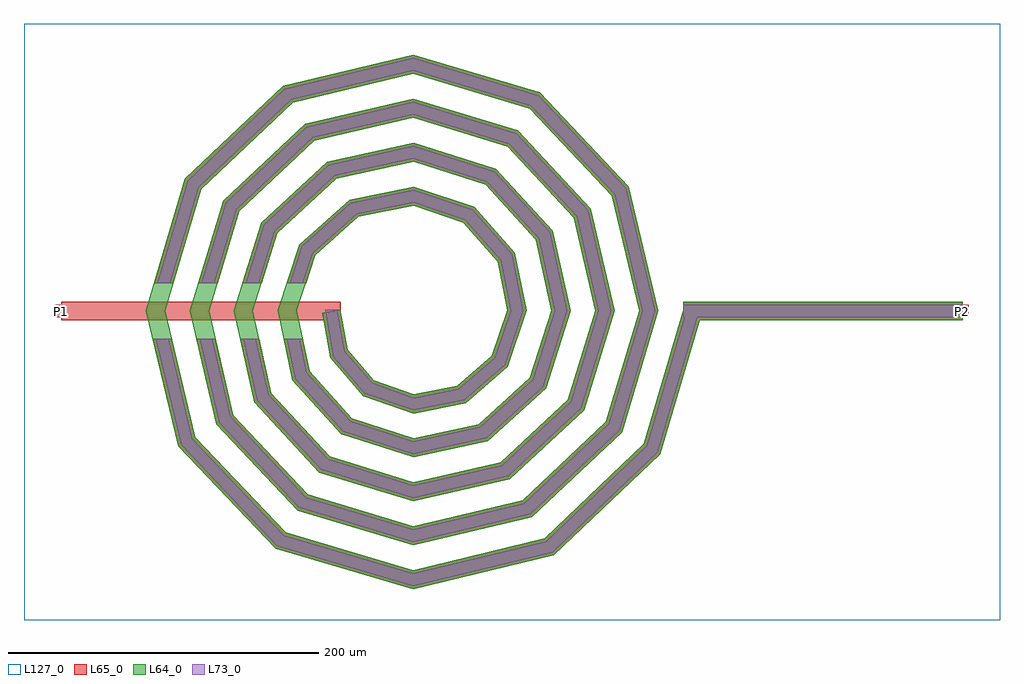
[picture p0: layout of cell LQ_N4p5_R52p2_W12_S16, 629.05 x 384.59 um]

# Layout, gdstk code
import gdstk
lib = gdstk.Library(unit=1e-6, precision=1e-09)
def R(c, l, rs):  # rectangles x0, y0, x1, y1
    for r in rs: c.add(gdstk.rectangle(r[:2], r[2:], *l))
def P(c, l, *ps):  # polygons
    for p in ps: c.add(gdstk.Polygon(p, *l))
L64_0 = (64, 0)
L65_0 = (65, 0)
L73_0 = (73, 0)
L127_0 = (127, 0)

lq_n4p5_r52p2_w12_s16 = lib.new_cell('LQ_N4p5_R52p2_W12_S16')
R(lq_n4p5_r52p2_w12_s16, L64_0, [(174.247,-6,354.247,6)])
P(lq_n4p5_r52p2_w12_s16, L64_0, [(-42.158,-24.911),(-25.251,-44.685),(0.456,-53.683),(28.401,-48.314),(50.788,-28.834),(60.76,0.408),(54.466,31.901),(32.41,56.897),(0.369,67.839),(-35.409,60.615),(-63.01,35.978),(-74.918,0.337),(-66.76,-38.922),(-39.543,-69.127),(0.31,-81.997),(42.44,-72.904),(75.246,-43.103),(89.076,0.287),(79.046,45.961),(46.661,81.366),(0.267,96.156),(-49.484,85.187),(-87.489,50.217),(-103.236,0.25),(-91.326,-53.01),(-53.77,-93.612),(0.235,-110.316),(56.537,-97.465),(99.736,-57.323),(117.396,0.221),(103.603,60.066),(60.873,105.862),(0.209,124.476),(-63.596,109.74),(-111.988,64.423),(-131.556,0.199),(-115.877,-67.127),(-67.972,-118.114),(0.189,-138.636),(70.659,-122.013),(124.241,-71.52),(145.716,0.18),(128.149,74.192),(75.067,130.369),(0.172,152.796),(-77.725,134.285),(-136.497,78.614),(-159.877,0.165),(-140.42,-81.259),(-82.16,-142.625),(0.158,-166.957),(84.793,-146.555),(148.754,-85.705),(174.492,1.695),(186.003,-1.695),(159.356,-92.182),(90.734,-157.467),(0.158,-179.377),(-88.647,-153.221),(-151.338,-87.188),(-172.296,0.165),(-147.085,85.113),(-83.641,145.21),(0.172,165.216),(81.579,140.95),(139.082,80.094),(158.135,0.18),(134.813,-78.046),(76.546,-132.954),(0.189,-151.054),(-74.513,-128.677),(-126.826,-72.998),(-143.974,0.199),(-122.54,70.982),(-69.449,120.7),(0.209,136.893),(67.451,116.402),(114.573,65.898),(129.812,0.221),(110.264,-63.921),(62.347,-108.447),(0.235,-122.731),(-60.393,-104.125),(-102.323,-58.794),(-115.65,0.25),(-97.984,56.866),(-55.239,96.199),(0.267,108.569),(53.341,91.843),(90.075,51.682),(101.488,0.287),(85.7,-49.819),(48.122,-83.954),(0.31,-94.407),(-46.299,-79.555),(-77.834,-44.559),(-87.325,0.337),(-73.408,42.783),(-40.992,71.716),(0.369,80.243),(39.271,67.258),(65.601,37.419),(73.161,0.408),(61.103,-35.766),(33.839,-59.489),(0.456,-66.077),(-32.269,-54.942),(-53.382,-30.249),(-58.702,-1.076),(-46.897,1.076)])
R(lq_n4p5_r52p2_w12_s16, L65_0, [(-226.8,-6,-46.8,6), (174.247,-6,354.247,6), (-230.8,-4,-222.8,4), (350.247,-4,358.247,4)])
P(lq_n4p5_r52p2_w12_s16, L65_0, [(-140.42,-81.259),(-82.16,-142.625),(0.158,-166.957),(84.793,-146.555),(148.754,-85.705),(174.492,1.695),(186.003,-1.695),(159.356,-92.182),(90.734,-157.467),(0.158,-179.377),(-88.647,-153.221),(-151.338,-87.188),(-167.938,-18),(-155.597,-18)],
  [(-115.877,-67.127),(-67.972,-118.114),(0.189,-138.636),(70.659,-122.013),(124.241,-71.52),(145.716,0.18),(128.149,74.192),(75.067,130.369),(0.172,152.796),(-77.725,134.285),(-136.497,78.614),(-154.486,18),(-167.003,18),(-147.085,85.113),(-83.641,145.21),(0.172,165.216),(81.579,140.95),(139.082,80.094),(158.135,0.18),(134.814,-78.046),(76.546,-132.954),(0.189,-151.054),(-74.513,-128.677),(-126.826,-72.998),(-139.71,-18),(-127.386,-18)],
  [(-91.326,-53.01),(-53.77,-93.612),(0.235,-110.316),(56.537,-97.465),(99.737,-57.323),(117.396,0.221),(103.603,60.066),(60.873,105.862),(0.209,124.476),(-63.596,109.74),(-111.988,64.423),(-126.045,18),(-138.583,18),(-122.54,70.982),(-69.449,120.7),(0.209,136.893),(67.451,116.402),(114.573,65.898),(129.812,0.221),(110.264,-63.921),(62.347,-108.448),(0.235,-122.731),(-60.393,-104.125),(-102.323,-58.794),(-111.531,-18),(-99.229,-18)],
  [(-66.76,-38.922),(-39.543,-69.127),(0.31,-81.997),(42.44,-72.904),(75.246,-43.103),(89.076,0.287),(79.046,45.961),(46.661,81.366),(0.267,96.156),(-49.484,85.187),(-87.489,50.217),(-97.541,18),(-110.112,18),(-97.984,56.866),(-55.239,96.199),(0.267,108.569),(53.341,91.843),(90.076,51.682),(101.488,0.287),(85.7,-49.819),(48.122,-83.954),(0.31,-94.407),(-46.299,-79.555),(-77.834,-44.559),(-83.449,-18),(-71.183,-18)],
  [(-25.251,-44.685),(0.456,-53.683),(28.401,-48.314),(50.788,-28.834),(60.76,0.408),(54.466,31.901),(32.41,56.897),(0.369,67.839),(-35.409,60.615),(-63.01,35.979),(-68.905,18),(-81.534,18),(-73.408,42.783),(-40.992,71.716),(0.369,80.243),(39.271,67.258),(65.601,37.42),(73.161,0.408),(61.103,-35.766),(33.839,-59.489),(0.456,-66.077),(-32.269,-54.942),(-53.382,-30.249),(-58.702,-1.077),(-46.897,1.077),(-42.158,-24.911)])
R(lq_n4p5_r52p2_w12_s16, L73_0, [(174.247,-4,354.247,4)])
P(lq_n4p5_r52p2_w12_s16, L73_0, [(-142.24,-82.247),(-83.241,-144.391),(0.105,-169.027),(85.783,-148.374),(150.521,-86.785),(176.41,1.13),(184.084,-1.13),(157.589,-91.102),(89.744,-155.648),(0.105,-177.307),(-87.566,-151.455),(-149.518,-86.2),(-165.881,-18),(-157.654,-18)],
  [(-117.702,-68.105),(-69.062,-119.875),(0.126,-140.706),(71.64,-123.837),(126.003,-72.607),(147.786,0.12),(129.971,75.175),(76.152,132.132),(0.115,154.866),(-78.711,136.106),(-138.262,79.697),(-156.572,18),(-164.917,18),(-145.321,84.03),(-82.655,143.389),(0.115,163.146),(80.494,139.186),(137.26,79.11),(156.065,0.12),(133.052,-76.958),(75.565,-131.13),(0.126,-148.985),(-73.423,-126.917),(-125.002,-72.019),(-137.656,-18),(-129.44,-18)],
  [(-93.159,-53.974),(-54.874,-95.364),(0.156,-112.385),(57.505,-99.295),(101.491,-58.422),(119.465,0.148),(105.431,61.038),(61.97,107.619),(0.14,126.545),(-64.571,111.567),(-113.746,65.516),(-128.135,18),(-136.494,18),(-120.781,69.889),(-68.473,118.873),(0.14,134.823),(66.355,114.645),(112.745,64.926),(127.743,0.148),(108.509,-62.822),(61.378,-106.617),(0.156,-120.662),(-59.289,-102.373),(-100.49,-57.83),(-109.481,-18),(-101.279,-18)],
  [(-68.606,-39.862),(-40.669,-70.865),(0.207,-84.065),(43.387,-74.746),(76.988,-44.223),(91.145,0.191),(80.884,46.914),(47.775,83.113),(0.178,98.225),(-50.443,87.022),(-89.238,51.325),(-99.636,18),(-108.017,18),(-96.235,55.758),(-54.28,94.363),(0.178,106.5),(52.228,90.097),(88.237,50.728),(99.42,0.191),(83.958,-48.699),(47.175,-82.112),(0.207,-92.339),(-45.173,-77.817),(-75.988,-43.62),(-81.405,-18),(-73.228,-18)],
  [(-26.421,-46.395),(0.304,-55.749),(29.307,-50.177),(52.507,-29.99),(62.827,0.272),(56.322,32.821),(33.553,58.624),(0.246,69.906),(-36.339,62.465),(-64.743,37.113),(-71.01,18),(-79.429,18),(-71.675,41.649),(-40.062,69.866),(0.246,78.176),(38.128,65.531),(63.745,36.5),(71.094,0.272),(59.384,-34.611),(32.933,-57.627),(0.304,-64.012),(-31.099,-53.233),(-51.511,-29.359),(-56.735,0.718),(-48.865,0.718),(-44.028,-25.801)])
R(lq_n4p5_r52p2_w12_s16, L127_0, [(-250.8,-199.377,378.247,185.216)])
lq_n4p5_r52p2_w12_s16.add(gdstk.Label('P2', (354.247,0), layer=65, texttype=0))
lq_n4p5_r52p2_w12_s16.add(gdstk.Label('P1', (-226.8,0), layer=65, texttype=0))
lq_n4p5_r52p2_w12_s16.add(gdstk.Label('P2', (358.247,0), layer=145, texttype=0))
lq_n4p5_r52p2_w12_s16.add(gdstk.Label('P1', (-230.8,0), layer=145, texttype=0))

lib.write_gds('LQ_N4p5_R52p2_W12_S16.gds')
